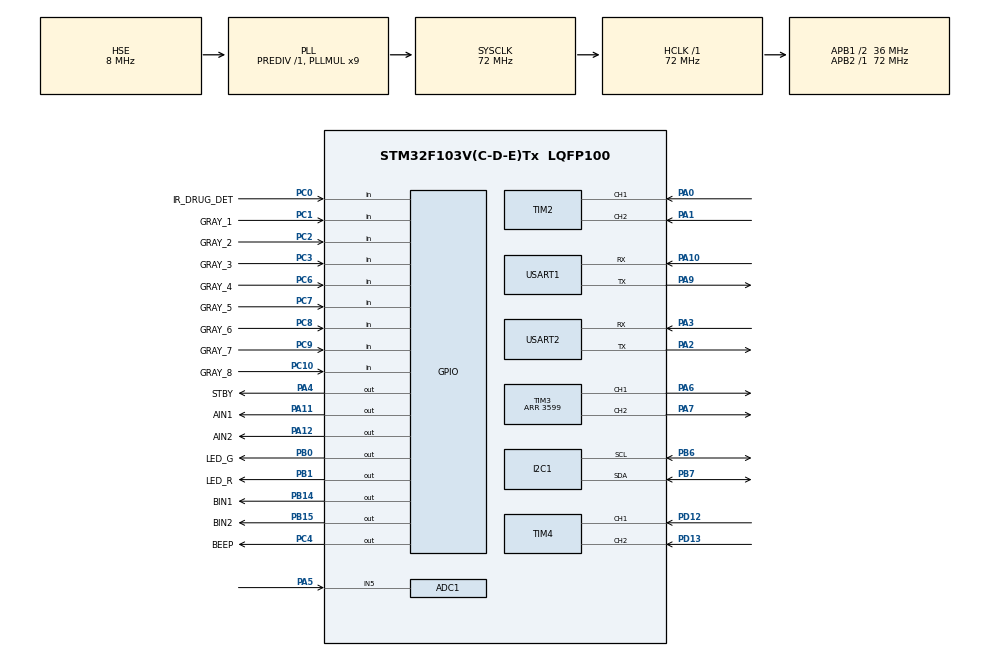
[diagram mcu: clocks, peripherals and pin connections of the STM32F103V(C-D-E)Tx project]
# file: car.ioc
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ADC1.Channel-0\#ChannelRegularConversion=ADC_CHANNEL_5
ADC1.NbrOfConversionFlag=1
ADC1.Rank-0\#ChannelRegularConversion=1
ADC1.SamplingTime-0\#ChannelRegularConversion=ADC_SAMPLETIME_239CYCLES_5
ADC1.master=1
Mcu.Family=STM32F1
Mcu.Name=STM32F103V(C-D-E)Tx
Mcu.Package=LQFP100
NVIC.PriorityGroup=NVIC_PRIORITYGROUP_4
OSC_IN.Mode=HSE-External-Oscillator
OSC_IN.Signal=RCC_OSC_IN
OSC_OUT.Mode=HSE-External-Oscillator
OSC_OUT.Signal=RCC_OSC_OUT
PA0-WKUP.Signal=S_TIM2_CH1_ETR
PA1.Signal=S_TIM2_CH2
PA10.Mode=Asynchronous
PA10.Signal=USART1_RX
PA11.GPIO_Label=AIN1
PA11.Signal=GPIO_Output
PA12.GPIO_Label=AIN2
PA12.Signal=GPIO_Output
PA13.Mode=Serial_Wire
PA13.Signal=SYS_JTMS-SWDIO
PA14.Mode=Serial_Wire
PA14.Signal=SYS_JTCK-SWCLK
PA2.Mode=Asynchronous
PA2.Signal=USART2_TX
PA3.Mode=Asynchronous
PA3.Signal=USART2_RX
PA4.GPIO_Label=STBY
PA4.Signal=GPIO_Output
PA5.Signal=ADCx_IN5
PA6.Signal=S_TIM3_CH1
PA7.Signal=S_TIM3_CH2
PA9.Mode=Asynchronous
PA9.Signal=USART1_TX
PB0.GPIO_Label=LED_G
PB0.Signal=GPIO_Output
PB1.GPIO_Label=LED_R
PB1.Signal=GPIO_Output
PB14.GPIO_Label=BIN1
PB14.Signal=GPIO_Output
PB15.GPIO_Label=BIN2
PB15.Signal=GPIO_Output
PB6.Mode=I2C
PB6.Signal=I2C1_SCL
PB7.Mode=I2C
PB7.Signal=I2C1_SDA
PC0.GPIO_Label=IR_DRUG_DET
PC0.GPIO_PuPd=GPIO_PULLUP
PC0.Signal=GPIO_Input
PC1.GPIO_Label=GRAY_1
PC1.GPIO_PuPd=GPIO_PULLUP
PC1.Signal=GPIO_Input
PC10.GPIO_Label=GRAY_8
PC10.GPIO_PuPd=GPIO_PULLUP
PC10.Signal=GPIO_Input
PC2.GPIO_Label=GRAY_2
PC2.GPIO_PuPd=GPIO_PULLUP
PC2.Signal=GPIO_Input
PC3.GPIO_Label=GRAY_3
PC3.GPIO_PuPd=GPIO_PULLUP
PC3.Signal=GPIO_Input
PC4.GPIO_Label=BEEP
PC4.PinState=GPIO_PIN_SET
PC4.Signal=GPIO_Output
PC6.GPIO_Label=GRAY_4
PC6.GPIO_PuPd=GPIO_PULLUP
PC6.Signal=GPIO_Input
PC7.GPIO_Label=GRAY_5
PC7.GPIO_PuPd=GPIO_PULLUP
PC7.Signal=GPIO_Input
PC8.GPIO_Label=GRAY_6
PC8.GPIO_PuPd=GPIO_PULLUP
PC8.Signal=GPIO_Input
PC9.GPIO_Label=GRAY_7
PC9.GPIO_PuPd=GPIO_PULLUP
PC9.Signal=GPIO_Input
PD12.Signal=S_TIM4_CH1
PD13.Signal=S_TIM4_CH2
ProjectManager.HeapSize=0x200
ProjectManager.StackSize=0x400
ProjectManager.TargetToolchain=CMake
RCC.ADCPresc=RCC_ADCPCLK2_DIV6
RCC.AHBFreq_Value=72000000
RCC.APB1CLKDivider=RCC_HCLK_DIV2
RCC.APB1Freq_Value=36000000
RCC.APB1TimFreq_Value=72000000
RCC.APB2Freq_Value=72000000
RCC.APB2TimFreq_Value=72000000
RCC.HCLKFreq_Value=72000000
RCC.PLLMUL=RCC_PLL_MUL9
RCC.PLLSourceVirtual=RCC_PLLSOURCE_HSE
RCC.SYSCLKFreq_VALUE=72000000
RCC.SYSCLKSource=RCC_SYSCLKSOURCE_PLLCLK
RCC.USBFreq_Value=72000000
SH.ADCx_IN5.0=ADC1_IN5,IN5
SH.S_TIM2_CH1_ETR.0=TIM2_CH1,Encoder_Interface
SH.S_TIM2_CH2.0=TIM2_CH2,Encoder_Interface
SH.S_TIM3_CH1.0=TIM3_CH1,PWM Generation1 CH1
SH.S_TIM3_CH2.0=TIM3_CH2,PWM Generation2 CH2
SH.S_TIM4_CH1.0=TIM4_CH1,Encoder_Interface
SH.S_TIM4_CH2.0=TIM4_CH2,Encoder_Interface
TIM2.EncoderMode=TIM_ENCODERMODE_TI2
TIM3.AutoReloadPreload=TIM_AUTORELOAD_PRELOAD_ENABLE
TIM3.Channel-PWM\ Generation1\ CH1=TIM_CHANNEL_1
TIM3.Channel-PWM\ Generation2\ CH2=TIM_CHANNEL_2
TIM3.Period=3599
TIM4.EncoderMode=TIM_ENCODERMODE_TI2
USART1.VirtualMode=VM_ASYNC
USART2.VirtualMode=VM_ASYNC
board=custom

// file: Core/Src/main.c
/* USER CODE BEGIN Header */
/**
  ******************************************************************************
  * @file           : main.c
  * @brief          : Main program body
  ******************************************************************************
  * @attention
  *
  * Copyright (c) 2026 STMicroelectronics.
  * All rights reserved.
  *
  * This software is licensed under terms that can be found in the LICENSE file
  * in the root directory of this software component.
  * If no LICENSE file comes with this software, it is provided AS-IS.
  *
  ******************************************************************************
  */
/* USER CODE END Header */
#include "main.h"
#include "adc.h"
#include "i2c.h"
#include "tim.h"
#include "usart.h"
#include "gpio.h"

/* USER CODE BEGIN Includes */
#include "oled.h"
#include "log.h"
#include <stdio.h>

/* USER CODE END Includes */

/* USER CODE BEGIN PD */
#define PWM_ARR_MAX        (3599U)
#define MOTOR_TEST_RIGHT   (720U)
#define MOTOR_L_COMP_NUM   (81U)
#define MOTOR_L_COMP_DEN   (100U)
#define LINE_CTRL_PERIOD_MS (20U)
#define LINE_BASE_PWM       (680)
#define LINE_KP             (55)
#define PWM_ARR_MAX_I32     (3599)
#define IR_DRUG_ACTIVE_LEVEL (0U)
#define BEEP_ACTIVE_LEVEL    (GPIO_PIN_RESET) /* low-level trigger */
#define BEEP_IDLE_LEVEL      (GPIO_PIN_SET)

/* USER CODE END PD */

/* USER CODE BEGIN PV */
static uint32_t s_last_batt_log_ms = 0;
static uint32_t s_last_motor_log_ms = 0;
static uint32_t s_last_gray_log_ms = 0;
static uint32_t s_last_line_ctrl_ms = 0;
static uint32_t s_last_ir_log_ms = 0;
static uint32_t s_last_beep_tick_ms = 0;
static int32_t s_prev_enc_l = 0;
static int32_t s_prev_enc_r = 0;
static uint32_t s_last_oled_ms = 0;
static int32_t s_last_line_err = 0;
static uint8_t s_last_gray_mask = 0;
static uint8_t s_drug_present = 0;
static uint16_t s_cmd_pwm_l = 0;
static uint16_t s_cmd_pwm_r = 0;
static uint8_t s_beep_on = 0;

/* USER CODE END PV */

void SystemClock_Config(void);
/* USER CODE BEGIN PFP */
static void Motor_RuntimeInit(void);
static void Motor_SetDuty(uint16_t left, uint16_t right);
static void Motor_Stop(void);
static void Motor_SetForward(void);
static void Motor_ApplyTrackPWM(int32_t base_pwm, int32_t turn_pwm);
static void Motor_ResetEncBase(void);
static void OLED_ShowBoot(void);
static void OLED_ShowRuntime(uint16_t bat_mv, uint8_t gray_mask, int32_t err, uint8_t drug_present);
static uint8_t Gray_ReadMask(void);
static int32_t Line_CalcError(uint8_t gray_mask);
static void LineFollow_Update(void);
static uint8_t IR_DrugPresent(void);
static void LED_Update(uint8_t drug_present);
static void BEEP_Set(uint8_t on);
static void BEEP_Update(void);

/* USER CODE END PFP */

int main(void)
{

  /* MCU Configuration--------------------------------------------------------*/

  /* Reset of all peripherals, Initializes the Flash interface and the Systick. */
  HAL_Init();

  /* Configure the system clock */
  SystemClock_Config();

  /* Initialize all configured peripherals */
  MX_GPIO_Init();
  MX_I2C1_Init();
  MX_TIM2_Init();
  MX_TIM3_Init();
  MX_TIM4_Init();
  MX_USART1_UART_Init();
  MX_USART2_UART_Init();
  MX_ADC1_Init();
  /* USER CODE BEGIN 2 */
  OLED_Init();
  OLED_ShowBoot();
  LOGI("System boot, clock=%lu Hz", HAL_RCC_GetHCLKFreq());
  Motor_RuntimeInit();

  /* USER CODE END 2 */

  /* Infinite loop */
  while (1)
  {

    /* USER CODE BEGIN 3 */
    if ((HAL_GetTick() - s_last_batt_log_ms) >= 1000U)
    {
      uint16_t raw = ADC1_ReadRaw();
      uint32_t vadc_mv = ((uint32_t)raw * 3300U) / 4095U;
      s_last_batt_log_ms = HAL_GetTick();
      LOGI("BAT raw=%u vadc=%lumV", raw, vadc_mv);
      OLED_ShowRuntime((uint16_t)vadc_mv, s_last_gray_mask, s_last_line_err, s_drug_present);
    }
    if ((HAL_GetTick() - s_last_motor_log_ms) >= 2000U)
    {
      s_last_motor_log_ms = HAL_GetTick();
      LOGI("ENC L=%ld R=%ld", (int32_t)__HAL_TIM_GET_COUNTER(&htim2), (int32_t)__HAL_TIM_GET_COUNTER(&htim4));
    }
    if ((HAL_GetTick() - s_last_line_ctrl_ms) >= LINE_CTRL_PERIOD_MS)
    {
      s_last_line_ctrl_ms = HAL_GetTick();
      s_drug_present = IR_DrugPresent();
      LED_Update(s_drug_present);
      if (s_drug_present != 0U)
      {
        LineFollow_Update();
      }
      else
      {
        Motor_Stop();
      }
    }
    BEEP_Update();
    if ((HAL_GetTick() - s_last_gray_log_ms) >= 200U)
    {
      uint8_t g = s_last_gray_mask;
      s_last_gray_log_ms = HAL_GetTick();
      LOGI("GRAY mask=0x%02X b=%u%u%u%u%u%u%u%u",
           g,
           (g >> 7) & 0x1U, (g >> 6) & 0x1U, (g >> 5) & 0x1U, (g >> 4) & 0x1U,
           (g >> 3) & 0x1U, (g >> 2) & 0x1U, (g >> 1) & 0x1U, g & 0x1U);
      LOGI("LINE err=%ld", s_last_line_err);
    }
    if ((HAL_GetTick() - s_last_ir_log_ms) >= 500U)
    {
      s_last_ir_log_ms = HAL_GetTick();
      LOGI("IR drug=%u", (unsigned int)s_drug_present);
    }
  }
  /* USER CODE END 3 */
}

void SystemClock_Config(void)
{
  RCC_OscInitTypeDef RCC_OscInitStruct = {0};
  RCC_ClkInitTypeDef RCC_ClkInitStruct = {0};
  RCC_PeriphCLKInitTypeDef PeriphClkInit = {0};

  /** Initializes the RCC Oscillators according to the specified parameters
  * in the RCC_OscInitTypeDef structure.
  */
  RCC_OscInitStruct.OscillatorType = RCC_OSCILLATORTYPE_HSE;
  RCC_OscInitStruct.HSEState = RCC_HSE_ON;
  RCC_OscInitStruct.HSEPredivValue = RCC_HSE_PREDIV_DIV1;
  RCC_OscInitStruct.HSIState = RCC_HSI_ON;
  RCC_OscInitStruct.PLL.PLLState = RCC_PLL_ON;
  RCC_OscInitStruct.PLL.PLLSource = RCC_PLLSOURCE_HSE;
  RCC_OscInitStruct.PLL.PLLMUL = RCC_PLL_MUL9;
  if (HAL_RCC_OscConfig(&RCC_OscInitStruct) != HAL_OK)
  {
    Error_Handler();
  }

  /** Initializes the CPU, AHB and APB buses clocks
  */
  RCC_ClkInitStruct.ClockType = RCC_CLOCKTYPE_HCLK|RCC_CLOCKTYPE_SYSCLK
                              |RCC_CLOCKTYPE_PCLK1|RCC_CLOCKTYPE_PCLK2;
  RCC_ClkInitStruct.SYSCLKSource = RCC_SYSCLKSOURCE_PLLCLK;
  RCC_ClkInitStruct.AHBCLKDivider = RCC_SYSCLK_DIV1;
  RCC_ClkInitStruct.APB1CLKDivider = RCC_HCLK_DIV2;
  RCC_ClkInitStruct.APB2CLKDivider = RCC_HCLK_DIV1;

  if (HAL_RCC_ClockConfig(&RCC_ClkInitStruct, FLASH_LATENCY_2) != HAL_OK)
  {
    Error_Handler();
  }
  PeriphClkInit.PeriphClockSelection = RCC_PERIPHCLK_ADC;
  PeriphClkInit.AdcClockSelection = RCC_ADCPCLK2_DIV6;
  if (HAL_RCCEx_PeriphCLKConfig(&PeriphClkInit) != HAL_OK)
  {
    Error_Handler();
  }
}

/* USER CODE BEGIN 4 */
static void Motor_SetDuty(uint16_t left, uint16_t right)
{
  s_cmd_pwm_l = left;
  s_cmd_pwm_r = right;
  __HAL_TIM_SET_COMPARE(&htim3, TIM_CHANNEL_1, left);
  __HAL_TIM_SET_COMPARE(&htim3, TIM_CHANNEL_2, right);
}

static void Motor_Stop(void)
{
  Motor_SetDuty(0, 0);
}

static void Motor_SetForward(void)
{
  HAL_GPIO_WritePin(AIN1_GPIO_Port, AIN1_Pin, GPIO_PIN_SET);
  HAL_GPIO_WritePin(AIN2_GPIO_Port, AIN2_Pin, GPIO_PIN_RESET);
  HAL_GPIO_WritePin(BIN1_GPIO_Port, BIN1_Pin, GPIO_PIN_SET);
  HAL_GPIO_WritePin(BIN2_GPIO_Port, BIN2_Pin, GPIO_PIN_RESET);
}

static void Motor_ApplyTrackPWM(int32_t base_pwm, int32_t turn_pwm)
{
  int32_t left_raw = base_pwm - turn_pwm;
  int32_t right_raw = base_pwm + turn_pwm;
  int32_t left_comp;

  if (left_raw < 0) left_raw = 0;
  if (left_raw > PWM_ARR_MAX_I32) left_raw = PWM_ARR_MAX_I32;
  if (right_raw < 0) right_raw = 0;
  if (right_raw > PWM_ARR_MAX_I32) right_raw = PWM_ARR_MAX_I32;

  left_comp = (left_raw * MOTOR_L_COMP_NUM) / MOTOR_L_COMP_DEN;
  if (left_comp > PWM_ARR_MAX_I32) left_comp = PWM_ARR_MAX_I32;

  Motor_SetDuty((uint16_t)left_comp, (uint16_t)right_raw);
}

static void Motor_RuntimeInit(void)
{
  HAL_GPIO_WritePin(STBY_GPIO_Port, STBY_Pin, GPIO_PIN_SET);

  if (HAL_TIM_PWM_Start(&htim3, TIM_CHANNEL_1) != HAL_OK)
  {
    LOGE("PWM CH1 start failed");
  }
  if (HAL_TIM_PWM_Start(&htim3, TIM_CHANNEL_2) != HAL_OK)
  {
    LOGE("PWM CH2 start failed");
  }
  if (HAL_TIM_Encoder_Start(&htim2, TIM_CHANNEL_ALL) != HAL_OK)
  {
    LOGE("ENC TIM2 start failed");
  }
  if (HAL_TIM_Encoder_Start(&htim4, TIM_CHANNEL_ALL) != HAL_OK)
  {
    LOGE("ENC TIM4 start failed");
  }

  __HAL_TIM_SET_COUNTER(&htim2, 0);
  __HAL_TIM_SET_COUNTER(&htim4, 0);
  Motor_ResetEncBase();
  s_drug_present = IR_DrugPresent();
  LED_Update(s_drug_present);
  BEEP_Set(0);
  Motor_SetForward();
  Motor_Stop();
  LOGI("Motor runtime init done, compensation L=%u/%u", (unsigned int)MOTOR_L_COMP_NUM, (unsigned int)MOTOR_L_COMP_DEN);
}

static void Motor_ResetEncBase(void)
{
  s_prev_enc_l = (int32_t)__HAL_TIM_GET_COUNTER(&htim2);
  s_prev_enc_r = (int32_t)__HAL_TIM_GET_COUNTER(&htim4);
}

static void OLED_ShowBoot(void)
{
  OLED_Clear();
  OLED_PrintAt(0, 0, "Drug Cart 2021");
  OLED_PrintAt(2, 0, "STM32F103VET6");
  OLED_PrintAt(4, 0, "OLED Ready");
  OLED_Update();
}

static void OLED_ShowRuntime(uint16_t bat_mv, uint8_t gray_mask, int32_t err, uint8_t drug_present)
{
  char line[22];
  uint32_t now = HAL_GetTick();

  if ((now - s_last_oled_ms) < 500U)
  {
    return;
  }
  s_last_oled_ms = now;

  OLED_Clear();

  snprintf(line, sizeof(line), "BAT:%4umV", (unsigned int)bat_mv);
  OLED_PrintAt(0, 0, line);

  snprintf(line, sizeof(line), "ENC L:%6ld", (long)((int32_t)__HAL_TIM_GET_COUNTER(&htim2)));
  OLED_PrintAt(2, 0, line);

  snprintf(line, sizeof(line), "ENC R:%6ld", (long)((int32_t)__HAL_TIM_GET_COUNTER(&htim4)));
  OLED_PrintAt(4, 0, line);

  snprintf(line, sizeof(line), "Lcmp:%u/%u", (unsigned int)MOTOR_L_COMP_NUM, (unsigned int)MOTOR_L_COMP_DEN);
  OLED_PrintAt(5, 0, line);

  snprintf(line, sizeof(line), "G:%02X E:%ld", gray_mask, (long)err);
  OLED_PrintAt(6, 0, line);
  OLED_PrintAt(7, 0, (drug_present != 0U) ? "Drug:IN  LED:G" : "Drug:OUT LED:R");

  OLED_Update();
}

static uint8_t Gray_ReadMask(void)
{
  uint8_t m = 0;
  m |= ((uint8_t)HAL_GPIO_ReadPin(GRAY_1_GPIO_Port, GRAY_1_Pin) & 0x1U) << 0;
  m |= ((uint8_t)HAL_GPIO_ReadPin(GRAY_2_GPIO_Port, GRAY_2_Pin) & 0x1U) << 1;
  m |= ((uint8_t)HAL_GPIO_ReadPin(GRAY_3_GPIO_Port, GRAY_3_Pin) & 0x1U) << 2;
  m |= ((uint8_t)HAL_GPIO_ReadPin(GRAY_4_GPIO_Port, GRAY_4_Pin) & 0x1U) << 3;
  m |= ((uint8_t)HAL_GPIO_ReadPin(GRAY_5_GPIO_Port, GRAY_5_Pin) & 0x1U) << 4;
  m |= ((uint8_t)HAL_GPIO_ReadPin(GRAY_6_GPIO_Port, GRAY_6_Pin) & 0x1U) << 5;
  m |= ((uint8_t)HAL_GPIO_ReadPin(GRAY_7_GPIO_Port, GRAY_7_Pin) & 0x1U) << 6;
  m |= ((uint8_t)HAL_GPIO_ReadPin(GRAY_8_GPIO_Port, GRAY_8_Pin) & 0x1U) << 7;
  return m;
}

static int32_t Line_CalcError(uint8_t gray_mask)
{
  static const int8_t weights[8] = {-7, -5, -3, -1, 1, 3, 5, 7};
  int32_t sum = 0;
  int32_t cnt = 0;
  uint8_t i;
  for (i = 0; i < 8; i++)
  {
    if (((gray_mask >> i) & 0x1U) != 0U)
    {
      sum += weights[i];
      cnt++;
    }
  }
  if (cnt == 0)
  {
    return s_last_line_err;
  }
  return sum / cnt;
}

static void LineFollow_Update(void)
{
  uint8_t g = Gray_ReadMask();
  int32_t err = Line_CalcError(g);
  int32_t turn = LINE_KP * err;

  s_last_gray_mask = g;
  s_last_line_err = err;

  Motor_ApplyTrackPWM(LINE_BASE_PWM, turn);
}

static uint8_t IR_DrugPresent(void)
{
  uint8_t ir = (uint8_t)HAL_GPIO_ReadPin(IR_DRUG_DET_GPIO_Port, IR_DRUG_DET_Pin);
  return (uint8_t)(ir == IR_DRUG_ACTIVE_LEVEL);
}

static void LED_Update(uint8_t drug_present)
{
  HAL_GPIO_WritePin(LED_G_GPIO_Port, LED_G_Pin, (drug_present != 0U) ? GPIO_PIN_SET : GPIO_PIN_RESET);
  HAL_GPIO_WritePin(LED_R_GPIO_Port, LED_R_Pin, (drug_present != 0U) ? GPIO_PIN_RESET : GPIO_PIN_SET);
}

static void BEEP_Set(uint8_t on)
{
  s_beep_on = (on != 0U) ? 1U : 0U;
  HAL_GPIO_WritePin(BEEP_GPIO_Port, BEEP_Pin, s_beep_on ? BEEP_ACTIVE_LEVEL : BEEP_IDLE_LEVEL);
}

static void BEEP_Update(void)
{
  uint32_t now = HAL_GetTick();
  uint8_t should_alert = 0;

  /* pickup reminder: drug detected and chassis is stopped */
  if ((s_drug_present != 0U) && (s_cmd_pwm_l == 0U) && (s_cmd_pwm_r == 0U))
  {
    should_alert = 1U;
  }

  if (should_alert == 0U)
  {
    BEEP_Set(0);
    s_last_beep_tick_ms = now;
    return;
  }

  /* 150ms ON + 350ms OFF */
  if (s_beep_on != 0U)
  {
    if ((now - s_last_beep_tick_ms) >= 150U)
    {
      BEEP_Set(0);
      s_last_beep_tick_ms = now;
    }
  }
  else
  {
    if ((now - s_last_beep_tick_ms) >= 350U)
    {
      BEEP_Set(1);
      s_last_beep_tick_ms = now;
    }
  }
}

/* USER CODE END 4 */

void Error_Handler(void)
{
  __disable_irq();
  while (1)
  {
  }
}
